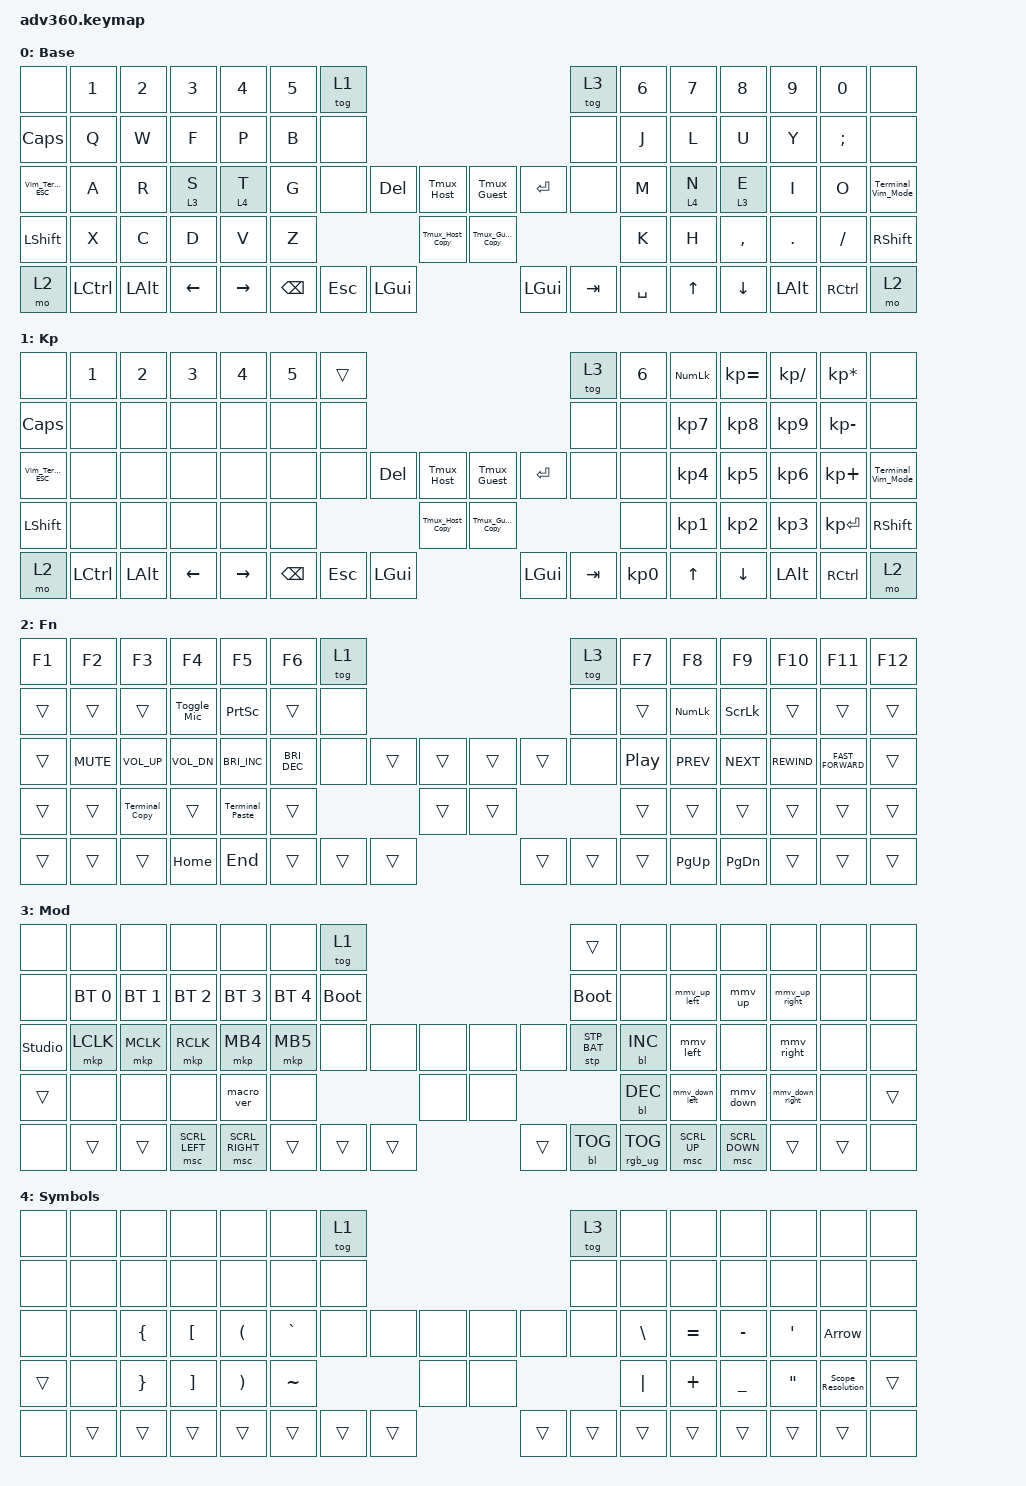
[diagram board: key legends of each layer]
#include <behaviors.dtsi>
#include <dt-bindings/zmk/keys.h>
#include <dt-bindings/zmk/bt.h>
#include <dt-bindings/zmk/rgb.h>
#include <dt-bindings/zmk/stp.h>
#include <dt-bindings/zmk/backlight.h>

&lt {
    tapping-term-ms = <220>;
    quick-tap-ms = <180>;
    require-prior-idle-ms = <150>;
};

/ {
    behaviors {
        #include "macros.dtsi"
        #include "version.dtsi"
        #include "smart_mouse.dtsi"

        combos {
            compatible = "zmk,combos";

            combo_bt_clr {
                bindings = <&bt BT_CLR>;
                timeout-ms = <300>;
                key-positions = <19 48>;
                layers = <3>;
            };
        };
    };

    keymap {
        compatible = "zmk,keymap";

        default_layer {
            display-name = "Base";
            bindings = <
                &none               &kp N1          &kp N2              &kp N3                  &kp N4                  &kp N5                      &tog 1                                                                                                                              &tog 3              &kp N6              &kp N7                  &kp N8              &kp N9                  &kp N0              &none
                &kp CLCK            &kp Q           &kp W               &kp F                   &kp P                   &kp B                       &none                                                                                                                               &none               &kp J               &kp L                   &kp U               &kp Y                   &kp SEMI            &none
                &Vim_Terminal_ESC   &kp A           &kp R               &lt 3 S                 &lt 4 T                 &kp G                       &none                               &kp DELETE  &Tmux_Host          &Tmux_Guest         &kp ENTER                                   &none               &kp M               &lt 4 N                 &lt 3 E             &kp I                   &kp O               &Terminal_Vim_Mode
                &kp LSHFT           &kp X           &kp C               &kp D                   &kp V                   &kp Z                                                                       &Tmux_Host_Copy     &Tmux_Guest_Copy                                                                    &kp K               &kp H                   &kp COMMA           &kp DOT                 &kp FSLH            &kp RSHFT
                &mo 2               &kp LCTRL       &kp LALT            &kp LEFT                &kp RIGHT                                                                   &kp BSPC    &kp ESC     &kp LGUI            &kp LGUI            &kp TAB         &kp SPACE                                                           &kp UP                  &kp DOWN            &kp LALT                &kp RCTRL           &mo 2
            >;
        };

        keypad {
            display-name = "Kp";
            bindings = <
                &none               &kp N1          &kp N2              &kp N3                  &kp N4                  &kp N5                      &trans                                                                                                                              &tog 3              &kp N6              &kp KP_NUM              &kp KP_EQUAL        &kp KP_DIVIDE           &kp KP_MULTIPLY     &none
                &kp CLCK            &none           &none               &none                   &none                   &none                       &none                                                                                                                               &none               &none               &kp KP_N7               &kp KP_N8           &kp KP_N9               &kp KP_MINUS        &none
                &Vim_Terminal_ESC   &none           &none               &none                   &none                   &none                       &none                               &kp DELETE  &Tmux_Host          &Tmux_Guest         &kp ENTER                                   &none               &none               &kp KP_N4               &kp KP_N5           &kp KP_N6               &kp KP_PLUS         &Terminal_Vim_Mode
                &kp LSHFT           &none           &none               &none                   &none                   &none                                                                       &Tmux_Host_Copy     &Tmux_Guest_Copy                                                                    &none               &kp KP_N1               &kp KP_N2           &kp KP_N3               &kp KP_ENTER        &kp RSHFT
                &mo 2               &kp LCTRL       &kp LALT            &kp LEFT                &kp RIGHT                                                                   &kp BSPC    &kp ESC     &kp LGUI            &kp LGUI            &kp TAB         &kp KP_N0                                                           &kp UP                  &kp DOWN            &kp LALT                &kp RCTRL           &mo 2
            >;
        };

        fn {
            display-name = "Fn";
            bindings = <
                &kp F1              &kp F2          &kp F3              &kp F4                  &kp F5                  &kp F6                      &tog 1                                                                                                                              &tog 3              &kp F7              &kp F8                  &kp F9              &kp F10                 &kp F11             &kp F12
                &trans              &trans          &trans              &Toggle_Mic             &kp PRINTSCREEN         &trans                      &none                                                                                                                               &none               &trans              &kp KP_NUMLOCK          &kp SCROLLLOCK      &trans                  &trans              &trans
                &trans              &kp C_MUTE      &kp C_VOL_UP        &kp C_VOL_DN            &kp C_BRIGHTNESS_INC    &kp C_BRIGHTNESS_DEC        &none                               &trans      &trans              &trans              &trans                                      &none               &kp C_PLAY_PAUSE    &kp C_PREV              &kp C_NEXT          &kp C_REWIND            &kp C_FAST_FORWARD  &trans
                &trans              &trans          &Terminal_Copy      &trans                  &Terminal_Paste         &trans                                                                      &trans              &trans                                                                              &trans              &trans                  &trans              &trans                  &trans              &trans
                &trans              &trans          &trans              &kp HOME                &kp END                                                                     &trans      &trans      &trans              &trans              &trans          &trans                                                              &kp PAGE_UP             &kp PAGE_DOWN       &trans                  &trans              &trans
            >;
        };

        mod {
            display-name = "Mod";
            bindings = <
                &none               &none           &none               &none                   &none                   &none                       &tog 1                                                                                                                              &trans              &none               &none                   &none               &none                   &none               &none
                &none               &bt BT_SEL 0    &bt BT_SEL 1        &bt BT_SEL 2            &bt BT_SEL 3            &bt BT_SEL 4                &bootloader                                                                                                                         &bootloader         &none               &mmv_up_left            &mmv_up             &mmv_up_right           &none               &none
                &studio_unlock      &mkp LCLK       &mkp MCLK           &mkp RCLK               &mkp MB4                &mkp MB5                    &none                               &none       &none               &none               &none                                       &stp STP_BAT        &bl BL_INC          &mmv_left               &none               &mmv_right              &none               &none
                &trans              &none           &none               &none                   &macro_ver              &none                                                                       &none               &none                                                                               &bl BL_DEC          &mmv_down_left          &mmv_down           &mmv_down_right         &none               &trans
                &none               &trans          &trans              &msc SCRL_LEFT          &msc SCRL_RIGHT                                                             &trans      &trans      &trans              &trans              &bl BL_TOG      &rgb_ug RGB_TOG                                                     &msc SCRL_UP            &msc SCRL_DOWN      &trans                  &trans              &none
            >;
        };

        symbols {
            display-name = "Symbols";
            bindings = <
                &none               &none           &none               &none                   &none                   &none                       &tog 1                                                                                                                              &tog 3              &none               &none                   &none               &none                   &none               &none
                &none               &none           &none               &none                   &none                   &none                       &none                                                                                                                               &none               &none               &none                   &none               &none                   &none               &none
                &none               &none           &kp LEFT_BRACE      &kp LBKT                &kp LEFT_PARENTHESIS    &kp GRAVE                   &none                               &none       &none               &none               &none                                       &none               &kp BACKSLASH       &kp EQUAL               &kp MINUS           &kp SQT                 &Arrow              &none
                &trans              &none           &kp RIGHT_BRACE     &kp RBKT                &kp RIGHT_PARENTHESIS   &kp TILDE                                                                   &none               &none                                                                               &kp PIPE            &kp PLUS                &kp UNDERSCORE      &kp DOUBLE_QUOTES       &Scope_Resolution   &trans
                &none               &trans          &trans              &trans                  &trans                                                                      &trans      &trans      &trans              &trans              &trans          &trans                                                              &trans                  &trans              &trans                  &trans              &none
            >;
        };

        extra1 {
            display-name = "Red";
            status = "reserved";
        };

        extra2 {
            display-name = "Purple";
            status = "reserved";
        };

        extra3 {
            display-name = "Cyan";
            status = "reserved";
        };

        extra4 {
            display-name = "Yellow";
            status = "reserved";
        };
    };
};
